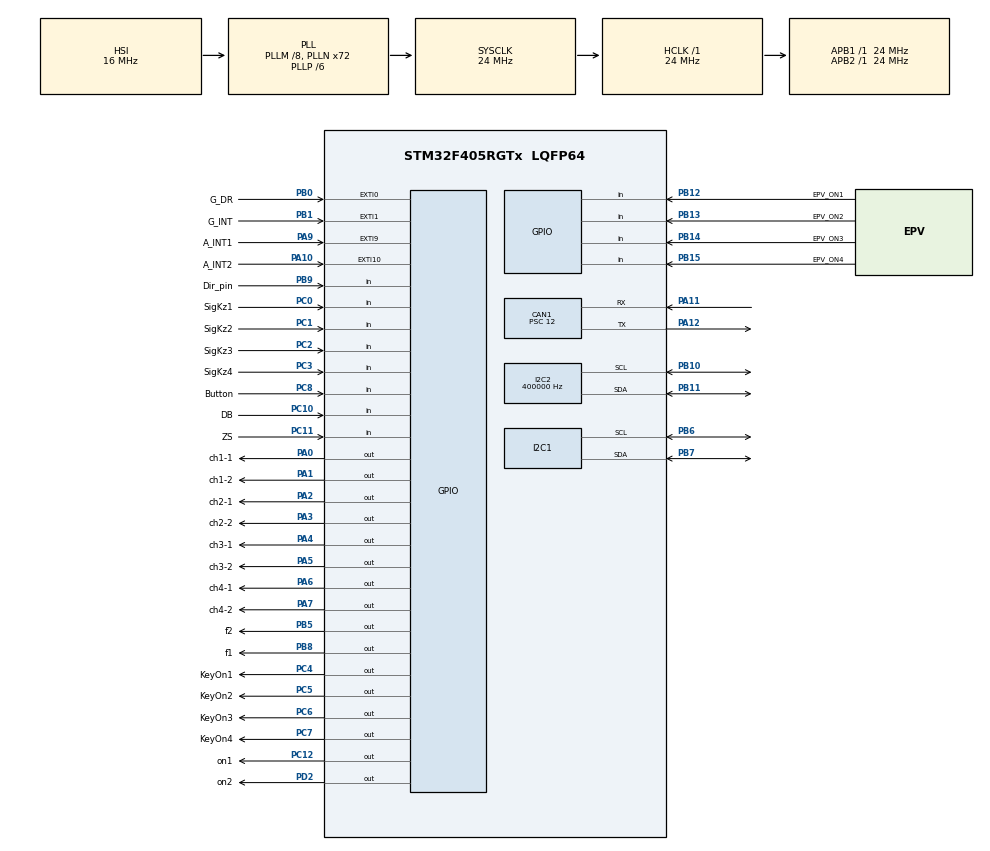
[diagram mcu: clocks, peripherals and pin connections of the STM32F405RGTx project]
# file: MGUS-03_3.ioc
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CAN1.ABOM=ENABLE
CAN1.BS1=CAN_BS1_13TQ
CAN1.BS2=CAN_BS2_2TQ
CAN1.CalculateBaudRate=125000
CAN1.CalculateTimeBit=8000
CAN1.CalculateTimeQuantum=500.0
CAN1.NART=ENABLE
CAN1.Prescaler=12
Dma.I2C2_RX.0.Direction=DMA_PERIPH_TO_MEMORY
Dma.I2C2_RX.0.FIFOMode=DMA_FIFOMODE_DISABLE
Dma.I2C2_RX.0.Instance=DMA1_Stream2
Dma.I2C2_RX.0.MemDataAlignment=DMA_MDATAALIGN_BYTE
Dma.I2C2_RX.0.MemInc=DMA_MINC_ENABLE
Dma.I2C2_RX.0.Mode=DMA_NORMAL
Dma.I2C2_RX.0.PeriphDataAlignment=DMA_PDATAALIGN_BYTE
Dma.I2C2_RX.0.PeriphInc=DMA_PINC_DISABLE
Dma.I2C2_RX.0.Priority=DMA_PRIORITY_LOW
Dma.I2C2_TX.1.Direction=DMA_MEMORY_TO_PERIPH
Dma.I2C2_TX.1.FIFOMode=DMA_FIFOMODE_DISABLE
Dma.I2C2_TX.1.Instance=DMA1_Stream7
Dma.I2C2_TX.1.MemDataAlignment=DMA_MDATAALIGN_BYTE
Dma.I2C2_TX.1.MemInc=DMA_MINC_ENABLE
Dma.I2C2_TX.1.Mode=DMA_NORMAL
Dma.I2C2_TX.1.PeriphDataAlignment=DMA_PDATAALIGN_BYTE
Dma.I2C2_TX.1.PeriphInc=DMA_PINC_DISABLE
Dma.I2C2_TX.1.Priority=DMA_PRIORITY_LOW
Dma.MEMTOMEM.2.Direction=DMA_MEMORY_TO_MEMORY
Dma.MEMTOMEM.2.FIFOMode=DMA_FIFOMODE_ENABLE
Dma.MEMTOMEM.2.FIFOThreshold=DMA_FIFO_THRESHOLD_FULL
Dma.MEMTOMEM.2.Instance=DMA2_Stream0
Dma.MEMTOMEM.2.MemBurst=DMA_MBURST_SINGLE
Dma.MEMTOMEM.2.MemDataAlignment=DMA_MDATAALIGN_BYTE
Dma.MEMTOMEM.2.MemInc=DMA_MINC_ENABLE
Dma.MEMTOMEM.2.Mode=DMA_NORMAL
Dma.MEMTOMEM.2.PeriphBurst=DMA_PBURST_SINGLE
Dma.MEMTOMEM.2.PeriphDataAlignment=DMA_PDATAALIGN_BYTE
Dma.MEMTOMEM.2.PeriphInc=DMA_PINC_ENABLE
Dma.MEMTOMEM.2.Priority=DMA_PRIORITY_LOW
Dma.Request0=I2C2_RX
Dma.Request1=I2C2_TX
Dma.Request2=MEMTOMEM
FREERTOS.BinarySemaphores01=myBinarySem01,Static,myBinarySem01ControlBlock;myBinarySem02,Dynamic,NULL;GyroBinSem,Dynamic,NULL
FREERTOS.CountingSemaphores01=myCountingSem01,10,Static,myCountingSem01ControlBlock;GyroCountingSem,2,Dynamic,NULL
FREERTOS.Queues01=GyroQueue,30,uint16_t,0,Dynamic,NULL,NULL
FREERTOS.Tasks01=defaultTask,32,128,StartDefaultTask,Default,NULL,Static,defaultTaskBuffer,defaultTaskControlBlock;I2CScan,16,128,I2CScanTask,Default,NULL,Dynamic,NULL,NULL;ChannelControlT,32,128,ChannelControl,Default,NULL,Dynamic,NULL,NULL;IndicationTask,8,128,Indication,Default,NULL,Dynamic,NULL,NULL;ButtonControlTa,8,128,ButtonControl,Default,NULL,Dynamic,NULL,NULL;CanControlTask,8,128,CanControl,Default,NULL,Dynamic,NULL,NULL;ControlModeDevT,8,128,ControlModeDev,Default,NULL,Dynamic,NULL,NULL;InclineControlT,8,128,InclineControl,Default,NULL,Dynamic,NULL,NULL;TimeTask,8,128,TimeControl,Default,NULL,Dynamic,NULL,NULL
I2C1.I2C_Mode=I2C_Fast
I2C2.ClockSpeed=400000
I2C2.I2C_Mode=I2C_Fast
Mcu.Family=STM32F4
Mcu.Name=STM32F405RGTx
Mcu.Package=LQFP64
NVIC.CAN1_RX0_IRQn=true\:5\:0\:false\:false\:true\:true\:true\:true
NVIC.CAN1_RX1_IRQn=true\:5\:0\:false\:false\:true\:true\:true\:true
NVIC.CAN1_SCE_IRQn=true\:5\:0\:false\:false\:true\:true\:true\:true
NVIC.CAN1_TX_IRQn=true\:5\:0\:false\:false\:true\:true\:true\:true
NVIC.DMA1_Stream2_IRQn=true\:5\:0\:false\:false\:true\:true\:false\:true
NVIC.DMA1_Stream7_IRQn=true\:5\:0\:false\:false\:true\:true\:false\:true
NVIC.DMA2_Stream0_IRQn=true\:5\:0\:false\:false\:true\:true\:true\:true
NVIC.EXTI0_IRQn=true\:5\:0\:false\:false\:true\:true\:true\:true
NVIC.EXTI15_10_IRQn=true\:5\:0\:false\:false\:true\:true\:true\:true
NVIC.EXTI1_IRQn=true\:5\:0\:false\:false\:true\:true\:true\:true
NVIC.EXTI9_5_IRQn=true\:5\:0\:false\:false\:true\:true\:true\:true
NVIC.I2C2_ER_IRQn=true\:5\:0\:false\:false\:true\:true\:true\:true
NVIC.I2C2_EV_IRQn=true\:5\:0\:false\:false\:true\:true\:true\:true
NVIC.PriorityGroup=NVIC_PRIORITYGROUP_4
NVIC.TIM1_UP_TIM10_IRQn=true\:15\:0\:false\:false\:true\:false\:false\:true
NVIC.TIM6_DAC_IRQn=true\:5\:0\:false\:false\:true\:true\:true\:true
NVIC.TimeBase=TIM1_UP_TIM10_IRQn
NVIC.TimeBaseIP=TIM1
PA0-WKUP.GPIO_Label=ch1-1
PA0-WKUP.Signal=GPIO_Output
PA1.GPIO_Label=ch1-2
PA1.Signal=GPIO_Output
PA10.GPIO_Label=A_INT2
PA10.Signal=GPXTI10
PA11.Mode=CAN_Activate
PA11.Signal=CAN1_RX
PA12.Mode=CAN_Activate
PA12.Signal=CAN1_TX
PA2.GPIO_Label=ch2-1
PA2.Signal=GPIO_Output
PA3.GPIO_Label=ch2-2
PA3.Signal=GPIO_Output
PA4.GPIO_Label=ch3-1
PA4.Signal=GPIO_Output
PA5.GPIO_Label=ch3-2
PA5.Signal=GPIO_Output
PA6.GPIO_Label=ch4-1
PA6.Signal=GPIO_Output
PA7.GPIO_Label=ch4-2
PA7.Signal=GPIO_Output
PA9.GPIO_Label=A_INT1
PA9.Signal=GPXTI9
PB0.GPIO_Label=G_DR
PB0.Signal=GPXTI0
PB1.GPIO_Label=G_INT
PB1.Signal=GPXTI1
PB10.Mode=I2C
PB10.Signal=I2C2_SCL
PB11.Mode=I2C
PB11.Signal=I2C2_SDA
PB12.GPIO_Label=EPV_ON1
PB12.GPIO_PuPd=GPIO_NOPULL
PB12.Signal=GPIO_Input
PB13.GPIO_Label=EPV_ON2
PB13.Signal=GPIO_Input
PB14.GPIO_Label=EPV_ON3
PB14.Signal=GPIO_Input
PB15.GPIO_Label=EPV_ON4
PB15.Signal=GPIO_Input
PB5.GPIO_Label=f2
PB5.Signal=GPIO_Output
PB6.Mode=I2C
PB6.Signal=I2C1_SCL
PB7.Mode=I2C
PB7.Signal=I2C1_SDA
PB8.GPIO_Label=f1
PB8.Signal=GPIO_Output
PB9.GPIO_Label=Dir_pin
PB9.GPIO_PuPd=GPIO_PULLUP
PB9.Signal=GPIO_Input
PC0.GPIO_Label=SigKz1
PC0.Signal=GPIO_Input
PC1.GPIO_Label=SigKz2
PC1.Signal=GPIO_Input
PC10.GPIO_Label=DB
PC10.Signal=GPIO_Input
PC11.GPIO_Label=ZS
PC11.Signal=GPIO_Input
PC12.GPIO_Label=on1
PC12.Signal=GPIO_Output
PC2.GPIO_Label=SigKz3
PC2.Signal=GPIO_Input
PC3.GPIO_Label=SigKz4
PC3.Signal=GPIO_Input
PC4.GPIO_Label=KeyOn1
PC4.Signal=GPIO_Output
PC5.GPIO_Label=KeyOn2
PC5.Signal=GPIO_Output
PC6.GPIO_Label=KeyOn3
PC6.Signal=GPIO_Output
PC7.GPIO_Label=KeyOn4
PC7.Signal=GPIO_Output
PC8.GPIO_Label=Button
PC8.Signal=GPIO_Input
PD2.GPIO_Label=on2
PD2.Signal=GPIO_Output
PH0-OSC_IN.Mode=HSE-External-Oscillator
PH0-OSC_IN.Signal=RCC_OSC_IN
PH1-OSC_OUT.Mode=HSE-External-Oscillator
PH1-OSC_OUT.Signal=RCC_OSC_OUT
ProjectManager.HeapSize=0x200
ProjectManager.StackSize=0x400
ProjectManager.TargetToolchain=MDK-ARM V5.32
RCC.48MHZClocksFreq_Value=36000000
RCC.AHBFreq_Value=24000000
RCC.APB1Freq_Value=24000000
RCC.APB1TimFreq_Value=24000000
RCC.APB2Freq_Value=24000000
RCC.APB2TimFreq_Value=24000000
RCC.CortexFreq_Value=24000000
RCC.HCLKFreq_Value=24000000
RCC.HSE_VALUE=4000000
RCC.HSI_VALUE=16000000
RCC.LSE_VALUE=32768
RCC.PLLM=8
RCC.PLLN=72
RCC.PLLP=RCC_PLLP_DIV6
RCC.SYSCLKFreq_VALUE=24000000
RCC.SYSCLKSource=RCC_SYSCLKSOURCE_PLLCLK
RCC.VCOOutputFreq_Value=144000000
TIM6.Prescaler=0
VP_FREERTOS_VS_CMSIS_V2.Mode=CMSIS_V2
VP_SYS_VS_tim1.Mode=TIM1
VP_TIM6_VS_ClockSourceINT.Mode=Enable_Timer
board=custom

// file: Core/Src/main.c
/* USER CODE BEGIN Header */
/**
  ******************************************************************************
  * @file           : main.c
  * @brief          : Main program body
  ******************************************************************************
  * @attention
  *
  * Copyright (c) 2022 STMicroelectronics.
  * All rights reserved.
  *
  * This software is licensed under terms that can be found in the LICENSE file
  * in the root directory of this software component.
  * If no LICENSE file comes with this software, it is provided AS-IS.
  *
  ******************************************************************************
  */
/* USER CODE END Header */
#include "main.h"
#include "cmsis_os.h"

/* USER CODE BEGIN Includes */

//#include "I2C_Dev.c"
/* USER CODE END Includes */

typedef StaticTask_t osStaticThreadDef_t;
typedef StaticSemaphore_t osStaticSemaphoreDef_t;
/* USER CODE BEGIN PTD */
CAN_FilterTypeDef sFilterConfig;
CAN_RxHeaderTypeDef RxHeader;
CAN_TxHeaderTypeDef TxHeader;

/* USER CODE END PTD */

/* USER CODE BEGIN PD */
#define CHANNEL_1_LED_OK HAL_GPIO_WritePin(ch1_1_GPIO_Port, ch1_1_Pin, GPIO_PIN_SET);HAL_GPIO_WritePin(ch1_2_GPIO_Port, ch1_2_Pin, GPIO_PIN_SET);
#define CHANNEL_1_LED_OFF HAL_GPIO_WritePin(ch1_1_GPIO_Port, ch1_1_Pin, GPIO_PIN_RESET);HAL_GPIO_WritePin(ch1_2_GPIO_Port, ch1_2_Pin, GPIO_PIN_RESET);
#define CHANNEL_2_LED_OK HAL_GPIO_WritePin(ch2_1_GPIO_Port, ch2_1_Pin, GPIO_PIN_SET);HAL_GPIO_WritePin(ch2_2_GPIO_Port, ch2_2_Pin, GPIO_PIN_SET);
#define CHANNEL_2_LED_OFF HAL_GPIO_WritePin(ch2_1_GPIO_Port, ch2_1_Pin, GPIO_PIN_RESET);HAL_GPIO_WritePin(ch2_2_GPIO_Port, ch2_2_Pin, GPIO_PIN_RESET);
#define CHANNEL_3_LED_OK HAL_GPIO_WritePin(ch3_1_GPIO_Port, ch3_1_Pin, GPIO_PIN_SET);HAL_GPIO_WritePin(ch3_2_GPIO_Port, ch3_2_Pin, GPIO_PIN_SET);
#define CHANNEL_3_LED_OFF HAL_GPIO_WritePin(ch3_1_GPIO_Port, ch3_1_Pin, GPIO_PIN_RESET);HAL_GPIO_WritePin(ch3_2_GPIO_Port, ch3_2_Pin, GPIO_PIN_RESET);
#define CHANNEL_4_LED_OK HAL_GPIO_WritePin(ch4_1_GPIO_Port, ch4_1_Pin, GPIO_PIN_SET);HAL_GPIO_WritePin(ch4_2_GPIO_Port, ch4_2_Pin, GPIO_PIN_SET);
#define CHANNEL_4_LED_OFF HAL_GPIO_WritePin(ch4_1_GPIO_Port, ch4_1_Pin, GPIO_PIN_RESET);HAL_GPIO_WritePin(ch4_2_GPIO_Port, ch4_2_Pin, GPIO_PIN_RESET);
#define STATUS_LED_GREEN HAL_GPIO_WritePin(on1_GPIO_Port, on1_Pin, GPIO_PIN_SET);HAL_GPIO_WritePin(on2_GPIO_Port, on2_Pin,GPIO_PIN_SET);HAL_GPIO_WritePin(f1_GPIO_Port, f1_Pin, GPIO_PIN_RESET);HAL_GPIO_WritePin(f2_GPIO_Port, f2_Pin,GPIO_PIN_RESET);
#define STATUS_LED_OFF HAL_GPIO_WritePin(on1_GPIO_Port, on1_Pin, GPIO_PIN_RESET);HAL_GPIO_WritePin(on2_GPIO_Port, on2_Pin,GPIO_PIN_RESET);HAL_GPIO_WritePin(f1_GPIO_Port, f1_Pin, GPIO_PIN_RESET);HAL_GPIO_WritePin(f2_GPIO_Port, f2_Pin,GPIO_PIN_RESET);
#define STATUS_LED_RED HAL_GPIO_WritePin(on1_GPIO_Port, on1_Pin, GPIO_PIN_RESET);HAL_GPIO_WritePin(on2_GPIO_Port, on2_Pin,GPIO_PIN_RESET);HAL_GPIO_WritePin(f1_GPIO_Port, f1_Pin, GPIO_PIN_SET);HAL_GPIO_WritePin(f2_GPIO_Port, f2_Pin,GPIO_PIN_SET);
#define STATUS_LED_YELLOW HAL_GPIO_WritePin(on1_GPIO_Port, on1_Pin, GPIO_PIN_SET);HAL_GPIO_WritePin(on2_GPIO_Port, on2_Pin,GPIO_PIN_SET);HAL_GPIO_WritePin(f1_GPIO_Port, f1_Pin, GPIO_PIN_SET);HAL_GPIO_WritePin(f2_GPIO_Port, f2_Pin,GPIO_PIN_SET);

#define CHANNEL_1_POWER_ON HAL_GPIO_WritePin(KeyOn1_GPIO_Port,KeyOn1_Pin,GPIO_PIN_SET);
#define CHANNEL_1_POWER_OFF HAL_GPIO_WritePin(KeyOn1_GPIO_Port,KeyOn1_Pin,GPIO_PIN_RESET);
#define CHANNEL_2_POWER_ON HAL_GPIO_WritePin(KeyOn2_GPIO_Port,KeyOn2_Pin,GPIO_PIN_SET);
#define CHANNEL_2_POWER_OFF HAL_GPIO_WritePin(KeyOn2_GPIO_Port,KeyOn2_Pin,GPIO_PIN_RESET);
#define CHANNEL_3_POWER_ON HAL_GPIO_WritePin(KeyOn3_GPIO_Port,KeyOn3_Pin,GPIO_PIN_SET);
#define CHANNEL_3_POWER_OFF HAL_GPIO_WritePin(KeyOn3_GPIO_Port,KeyOn3_Pin,GPIO_PIN_RESET);
#define CHANNEL_4_POWER_ON HAL_GPIO_WritePin(KeyOn4_GPIO_Port,KeyOn4_Pin,GPIO_PIN_SET);
#define CHANNEL_4_POWER_OFF HAL_GPIO_WritePin(KeyOn4_GPIO_Port,KeyOn4_Pin,GPIO_PIN_RESET);

#define TEST_ZapretSmazki HAL_GPIO_ReadPin(ZS_GPIO_Port,ZS_Pin)
#define TEST_BAK HAL_GPIO_ReadPin(DB_GPIO_Port,DB_Pin)
#define ZapretSmazki_ON GPIO_PIN_SET
#define ZapretSmazki_OFF GPIO_PIN_RESET
#define BAK_ON GPIO_PIN_SET
#define BAK_OFF GPIO_PIN_RESET

#define SENSOR_BUS hi2c2

#define I2C_TIMEOUT 10
#define GYRO_I2C_ADRESS 0xD0
#define GYRO_I2C_ID_Who_Am_I 0x0F
#define GYRO_I2C_ID_OUT_TEMP 0x26
#define GYRO_I2C_ID_OUT_X_L 0x28
#define GYRO_I2C_ID_OUT_Y_L 0x2A
#define GYRO_I2C_ID_OUT_Z_L 0x2C
#define GYRO_I2C_ID_CTRL_REG1 0x20
#define GYRO_I2C_ID_INT1_CFG 0x30
#define GYRO_I2C_ID_FIFO_CTRL_REG 0x2E
#define GYRO_I2C_ID_STATUS_REG 0x27
#define GYRO_I2C_ONALLAXIS 0xCF
#define GYRO_I2C_TIMEOUT 10
#define GYRO_I2C_STATUS_REG 0x27

#define ACSEL_I2C_ADRESS 0x32
#define ACSEL_I2C_ID_OUT_X_L 0x28
#define ACSEL_I2C_ID_Who_Am_I 0x0F
#define ACSEL_I2C_ID_CTRL_REG1 0x20
#define ACSEL_I2C_CTRL_REG1_SETTING 0x77
#define ACSEL_I2C_ID_CTRL_REG2 0x21
#define ACSEL_I2C_CTRL_REG2_SETTING 0xB0
#define ACSEL_I2C_ID_CTRL_REG3 0x22
#define ACSEL_I2C_CTRL_REG3_SETTING 0x00
#define ACSEL_I2C_ID_CTRL_REG4 0x23
#define ACSEL_I2C_CTRL_REG4_SETTING 0x28
#define ACSEL_I2C_ID_CTRL_REG5 0x24
#define ACSEL_I2C_CTRL_REG5_SETTING 0x00
#define ACSEL_I2C_ID_FIFO_CTRL_REG 0x2E
#define ACSEL_I2C_ONALLAXIS 0xFF
#define ACSEL_I2C_TIMEOUT 10

#define BOOT_TIME 10
/* USER CODE END PD */

/* USER CODE BEGIN PM */
xSemaphoreHandle ButtonSem;
/* USER CODE END PM */

CAN_HandleTypeDef hcan1;

I2C_HandleTypeDef hi2c1;
I2C_HandleTypeDef hi2c2;
DMA_HandleTypeDef hdma_i2c2_rx;
DMA_HandleTypeDef hdma_i2c2_tx;

TIM_HandleTypeDef htim6;

DMA_HandleTypeDef hdma_memtomem_dma2_stream0;
/* Definitions for defaultTask */
osThreadId_t defaultTaskHandle;
uint32_t defaultTaskBuffer[ 128 ];
osStaticThreadDef_t defaultTaskControlBlock;
const osThreadAttr_t defaultTask_attributes = {
  .name = "defaultTask",
  .cb_mem = &defaultTaskControlBlock,
  .cb_size = sizeof(defaultTaskControlBlock),
  .stack_mem = &defaultTaskBuffer[0],
  .stack_size = sizeof(defaultTaskBuffer),
  .priority = (osPriority_t) osPriorityAboveNormal,
};
/* Definitions for I2CScan */
osThreadId_t I2CScanHandle;
const osThreadAttr_t I2CScan_attributes = {
  .name = "I2CScan",
  .stack_size = 128 * 4,
  .priority = (osPriority_t) osPriorityBelowNormal,
};
/* Definitions for ChannelControlT */
osThreadId_t ChannelControlTHandle;
const osThreadAttr_t ChannelControlT_attributes = {
  .name = "ChannelControlT",
  .stack_size = 128 * 4,
  .priority = (osPriority_t) osPriorityAboveNormal,
};
/* Definitions for IndicationTask */
osThreadId_t IndicationTaskHandle;
const osThreadAttr_t IndicationTask_attributes = {
  .name = "IndicationTask",
  .stack_size = 128 * 4,
  .priority = (osPriority_t) osPriorityLow,
};
/* Definitions for ButtonControlTa */
osThreadId_t ButtonControlTaHandle;
const osThreadAttr_t ButtonControlTa_attributes = {
  .name = "ButtonControlTa",
  .stack_size = 128 * 4,
  .priority = (osPriority_t) osPriorityLow,
};
/* Definitions for CanControlTask */
osThreadId_t CanControlTaskHandle;
const osThreadAttr_t CanControlTask_attributes = {
  .name = "CanControlTask",
  .stack_size = 128 * 4,
  .priority = (osPriority_t) osPriorityLow,
};
/* Definitions for ControlModeDevT */
osThreadId_t ControlModeDevTHandle;
const osThreadAttr_t ControlModeDevT_attributes = {
  .name = "ControlModeDevT",
  .stack_size = 128 * 4,
  .priority = (osPriority_t) osPriorityLow,
};
/* Definitions for InclineControlT */
osThreadId_t InclineControlTHandle;
const osThreadAttr_t InclineControlT_attributes = {
  .name = "InclineControlT",
  .stack_size = 128 * 4,
  .priority = (osPriority_t) osPriorityLow,
};
/* Definitions for TimeTask */
osThreadId_t TimeTaskHandle;
const osThreadAttr_t TimeTask_attributes = {
  .name = "TimeTask",
  .stack_size = 128 * 4,
  .priority = (osPriority_t) osPriorityLow,
};
/* Definitions for GyroQueue */
osMessageQueueId_t GyroQueueHandle;
const osMessageQueueAttr_t GyroQueue_attributes = {
  .name = "GyroQueue"
};
/* Definitions for myBinarySem01 */
osSemaphoreId_t myBinarySem01Handle;
osStaticSemaphoreDef_t myBinarySem01ControlBlock;
const osSemaphoreAttr_t myBinarySem01_attributes = {
  .name = "myBinarySem01",
  .cb_mem = &myBinarySem01ControlBlock,
  .cb_size = sizeof(myBinarySem01ControlBlock),
};
/* Definitions for myBinarySem02 */
osSemaphoreId_t myBinarySem02Handle;
const osSemaphoreAttr_t myBinarySem02_attributes = {
  .name = "myBinarySem02"
};
/* Definitions for GyroBinSem */
osSemaphoreId_t GyroBinSemHandle;
const osSemaphoreAttr_t GyroBinSem_attributes = {
  .name = "GyroBinSem"
};
/* Definitions for myCountingSem01 */
osSemaphoreId_t myCountingSem01Handle;
osStaticSemaphoreDef_t myCountingSem01ControlBlock;
const osSemaphoreAttr_t myCountingSem01_attributes = {
  .name = "myCountingSem01",
  .cb_mem = &myCountingSem01ControlBlock,
  .cb_size = sizeof(myCountingSem01ControlBlock),
};
/* Definitions for GyroCountingSem */
osSemaphoreId_t GyroCountingSemHandle;
const osSemaphoreAttr_t GyroCountingSem_attributes = {
  .name = "GyroCountingSem"
};

void SystemClock_Config(void);
static void MX_GPIO_Init(void);
static void MX_I2C2_Init(void);
static void MX_CAN1_Init(void);
static void MX_DMA_Init(void);
static void MX_I2C1_Init(void);
static void MX_TIM6_Init(void);
void StartDefaultTask(void *argument);
void I2CScanTask(void *argument);
void ChannelControl(void *argument);
void Indication(void *argument);
void ButtonControl(void *argument);
void CanControl(void *argument);
void ControlModeDev(void *argument);
void InclineControl(void *argument);
void TimeControl(void *argument);

/* USER CODE BEGIN PFP */
Kalman_t KalmanX = {
    .Q_angle = 0.001f,
    .Q_bias = 0.003f,
    .R_measure = 0.03f};

Kalman_t KalmanY = {
    .Q_angle = 0.001f,
    .Q_bias = 0.003f,
    .R_measure = 0.03f,
};
static int32_t i3g4250dtr_platform_write(void *handle, uint8_t Reg, const uint8_t *Bufp, uint16_t len);
static int32_t i3g4250dtr_platform_read(void *handle, uint8_t Reg, uint8_t *Bufp, uint16_t len);

static int32_t ii2s_dh_platform_write(void *handle, uint8_t Reg, const uint8_t *Bufp, uint16_t len);
//static int32_t ii2s_dh_platform_read(void *handle, uint8_t Reg, const uint8_t *Bufp, uint16_t len);

void AllMemEraze(void);

uint8_t tx_buffer[1000];

uint8_t regAddress = GYRO_I2C_ID_OUT_X_L;
uint8_t regData = 0;
uint8_t TxData;
uint8_t RxData;

uint8_t BuffFRAM[9];

uint8_t CanDataTxBuff[8];
uint8_t RxDataBuffer [10];
uint8_t TxDataBuffer [10];
uint8_t AcselRxDataBuffer [10];
uint8_t GyroRxDataBuffer [10];
GPIO_PinState EPV1,EPV2,EPV3,EPV4;

uint16_t GyroOutX, GyroOutY, GyroOutZ, GyroStatusReg,GyroOutTemp;
float fGyroOutX,fGyroOutY,fGyroOutZ;
uint16_t AcselOutX, AcselOutY, AcselOutZ,AcselStatusReg,AcselOutTemp;

static int16_t i3g4250Buff[3];
static int16_t iis2dsBuff[3];

uint16_t data_raw_angular_rate[3];

/*
static int8_t i3g4250Buff[6];
static int8_t iis2dsBuff[6];
*/
uint32_t TimerKalman;
uint8_t WhoAmI;
/*CAN Global frame data*/
uint32_t RxIDCurrentFrame;
uint16_t RxIDShort;
uint8_t RxDataCurrentFrameBuff [8];

struct ExtData RxDataFromBis;
struct ExtData EmptyStr;
//struct ExtData InsideData;
struct DevCondition DeviceData;
struct DataI2CPer Gyro;

	struct DataI2CPer Acsel;
/* USER CODE END PFP */

int main(void)
{
  /* USER CODE BEGIN 1 */
	__HAL_RCC_I2C3_CLK_ENABLE();

	__HAL_RCC_I2C3_FORCE_RESET();

	__HAL_RCC_I2C3_RELEASE_RESET();

  /* USER CODE END 1 */

  /* MCU Configuration--------------------------------------------------------*/

  /* Reset of all peripherals, Initializes the Flash interface and the Systick. */
  HAL_Init();

  /* USER CODE BEGIN Init */
	RxDataFromBis = EmptyStr;

  /* USER CODE END Init */

  /* Configure the system clock */
  SystemClock_Config();

  /* Initialize all configured peripherals */
  MX_GPIO_Init();
  MX_I2C2_Init();
  MX_CAN1_Init();
  MX_DMA_Init();
  MX_I2C1_Init();
  MX_TIM6_Init();
  /* USER CODE BEGIN 2 */

	//AllMemEraze();

	DownloadDataFromMem(&DeviceData);//подгружаем значения из памятиж

	ButtonSem = xSemaphoreCreateCounting(10,0);

	Gyro.Adress = GYRO_I2C_ADRESS;
	//Gyro.SETUP_CNTRL_REG = GYRO_I2C_ONALLAXIS;

	Acsel.Adress = ACSEL_I2C_ADRESS;
	//Acsel.SETUP_CNTRL_REG = ACSEL_I2C_ONALLAXIS;
	//memset(*RxDataFromBis,)

	HAL_CAN_Start(&hcan1);
	HAL_CAN_ActivateNotification(&hcan1, CAN_IT_RX_FIFO0_MSG_PENDING|CAN_IT_ERROR|CAN_IT_BUSOFF|CAN_IT_LAST_ERROR_CODE);

	HAL_NVIC_SetPriority(I2C2_EV_IRQn, 0, 0);
    HAL_NVIC_EnableIRQ(I2C2_EV_IRQn);

	if(HAL_GPIO_ReadPin(Dir_pin_GPIO_Port,Dir_pin_Pin)==GPIO_PIN_SET)
	{
		/*если сторона установки левый борт*/
		DeviceData.Bort = Left;//левый борт
	}
	else
		DeviceData.Bort = Right; //правй борт
		//HAL_DMA_Start_IT();

		//HAL_DMA_Start();

  /* USER CODE END 2 */

  /* Init scheduler */
  osKernelInitialize();

  /* Create the semaphores(s) */
  /* creation of myBinarySem01 */
  myBinarySem01Handle = osSemaphoreNew(1, 1, &myBinarySem01_attributes);

  /* creation of myBinarySem02 */
  myBinarySem02Handle = osSemaphoreNew(1, 1, &myBinarySem02_attributes);

  /* creation of GyroBinSem */
  GyroBinSemHandle = osSemaphoreNew(1, 1, &GyroBinSem_attributes);

  /* creation of myCountingSem01 */
  myCountingSem01Handle = osSemaphoreNew(10, 10, &myCountingSem01_attributes);

  /* creation of GyroCountingSem */
  GyroCountingSemHandle = osSemaphoreNew(2, 2, &GyroCountingSem_attributes);

  /* Create the queue(s) */
  /* creation of GyroQueue */
  GyroQueueHandle = osMessageQueueNew (30, sizeof(uint16_t), &GyroQueue_attributes);

  /* Create the thread(s) */
  /* creation of defaultTask */
  defaultTaskHandle = osThreadNew(StartDefaultTask, NULL, &defaultTask_attributes);

  /* creation of I2CScan */
  I2CScanHandle = osThreadNew(I2CScanTask, NULL, &I2CScan_attributes);

  /* creation of ChannelControlT */
  ChannelControlTHandle = osThreadNew(ChannelControl, NULL, &ChannelControlT_attributes);

  /* creation of IndicationTask */
  IndicationTaskHandle = osThreadNew(Indication, NULL, &IndicationTask_attributes);

  /* creation of ButtonControlTa */
  ButtonControlTaHandle = osThreadNew(ButtonControl, NULL, &ButtonControlTa_attributes);

  /* creation of CanControlTask */
  CanControlTaskHandle = osThreadNew(CanControl, NULL, &CanControlTask_attributes);

  /* creation of ControlModeDevT */
  ControlModeDevTHandle = osThreadNew(ControlModeDev, NULL, &ControlModeDevT_attributes);

  /* creation of InclineControlT */
  InclineControlTHandle = osThreadNew(InclineControl, NULL, &InclineControlT_attributes);

  /* creation of TimeTask */
  TimeTaskHandle = osThreadNew(TimeControl, NULL, &TimeTask_attributes);

  /* Start scheduler */
  osKernelStart();

  /* We should never get here as control is now taken by the scheduler */
  /* Infinite loop */
  while (1)
  {

  }
}

void SystemClock_Config(void)
{
  RCC_OscInitTypeDef RCC_OscInitStruct = {0};
  RCC_ClkInitTypeDef RCC_ClkInitStruct = {0};

  /** Configure the main internal regulator output voltage
  */
  __HAL_RCC_PWR_CLK_ENABLE();
  __HAL_PWR_VOLTAGESCALING_CONFIG(PWR_REGULATOR_VOLTAGE_SCALE1);
  /** Initializes the RCC Oscillators according to the specified parameters
  * in the RCC_OscInitTypeDef structure.
  */
  RCC_OscInitStruct.OscillatorType = RCC_OSCILLATORTYPE_HSI;
  RCC_OscInitStruct.HSIState = RCC_HSI_ON;
  RCC_OscInitStruct.HSICalibrationValue = RCC_HSICALIBRATION_DEFAULT;
  RCC_OscInitStruct.PLL.PLLState = RCC_PLL_ON;
  RCC_OscInitStruct.PLL.PLLSource = RCC_PLLSOURCE_HSI;
  RCC_OscInitStruct.PLL.PLLM = 8;
  RCC_OscInitStruct.PLL.PLLN = 72;
  RCC_OscInitStruct.PLL.PLLP = RCC_PLLP_DIV6;
  RCC_OscInitStruct.PLL.PLLQ = 4;
  if (HAL_RCC_OscConfig(&RCC_OscInitStruct) != HAL_OK)
  {
    Error_Handler();
  }
  /** Initializes the CPU, AHB and APB buses clocks
  */
  RCC_ClkInitStruct.ClockType = RCC_CLOCKTYPE_HCLK|RCC_CLOCKTYPE_SYSCLK
                              |RCC_CLOCKTYPE_PCLK1|RCC_CLOCKTYPE_PCLK2;
  RCC_ClkInitStruct.SYSCLKSource = RCC_SYSCLKSOURCE_PLLCLK;
  RCC_ClkInitStruct.AHBCLKDivider = RCC_SYSCLK_DIV1;
  RCC_ClkInitStruct.APB1CLKDivider = RCC_HCLK_DIV1;
  RCC_ClkInitStruct.APB2CLKDivider = RCC_HCLK_DIV1;

  if (HAL_RCC_ClockConfig(&RCC_ClkInitStruct, FLASH_LATENCY_0) != HAL_OK)
  {
    Error_Handler();
  }
}

static void MX_CAN1_Init(void)
{

  hcan1.Instance = CAN1;
  hcan1.Init.Prescaler = 12;
  hcan1.Init.Mode = CAN_MODE_NORMAL;
  hcan1.Init.SyncJumpWidth = CAN_SJW_1TQ;
  hcan1.Init.TimeSeg1 = CAN_BS1_13TQ;
  hcan1.Init.TimeSeg2 = CAN_BS2_2TQ;
  hcan1.Init.TimeTriggeredMode = DISABLE;
  hcan1.Init.AutoBusOff = ENABLE;
  hcan1.Init.AutoWakeUp = DISABLE;
  hcan1.Init.AutoRetransmission = ENABLE;
  hcan1.Init.ReceiveFifoLocked = DISABLE;
  hcan1.Init.TransmitFifoPriority = DISABLE;
  if (HAL_CAN_Init(&hcan1) != HAL_OK)
  {
    Error_Handler();
  }
  /* USER CODE BEGIN CAN1_Init 2 */

	sFilterConfig.FilterBank=0;
	sFilterConfig.FilterMode=CAN_FILTERMODE_IDMASK;
	sFilterConfig.FilterScale=CAN_FILTERSCALE_32BIT;
	sFilterConfig.FilterIdHigh=(uint16_t)(CAN_FILTER_ID_0>>13);
	sFilterConfig.FilterIdLow=(uint16_t)(CAN_FILTER_ID_0<<3)|0x04;
	sFilterConfig.FilterMaskIdHigh=(uint16_t)(CAN_FILTER_MASK_0>>13);
	sFilterConfig.FilterMaskIdLow=(uint16_t)(CAN_FILTER_MASK_0<<3)|0x04;
	sFilterConfig.FilterFIFOAssignment=CAN_RX_FIFO0;
	sFilterConfig.FilterActivation=ENABLE;
	sFilterConfig.SlaveStartFilterBank=15;
	if(HAL_CAN_ConfigFilter(&hcan1,&sFilterConfig)!=HAL_OK)
	{
		Error_Handler();
	}

	sFilterConfig.FilterBank=1;
	sFilterConfig.FilterIdHigh=(uint16_t)(CAN_FILTER_ID_1>>13);
	sFilterConfig.FilterIdLow=(uint16_t)(CAN_FILTER_ID_1<<3)|0x04;
	sFilterConfig.FilterMaskIdHigh=(uint16_t)(CAN_FILTER_MASK_1>>13);
	sFilterConfig.FilterMaskIdLow=(uint16_t)(CAN_FILTER_MASK_1<<3)|0x04;

	if(HAL_CAN_ConfigFilter(&hcan1,&sFilterConfig)!=HAL_OK)
	{
		Error_Handler();
	}
		sFilterConfig.FilterBank=2;
	sFilterConfig.FilterIdHigh=(uint16_t)(CAN_FILTER_ID_2<<5);
	sFilterConfig.FilterIdLow=0x0000;
	sFilterConfig.FilterMaskIdHigh=(uint16_t)(CAN_FILTER_MASK_2<<5);
	sFilterConfig.FilterMaskIdLow=0x0000;

	if(HAL_CAN_ConfigFilter(&hcan1,&sFilterConfig)!=HAL_OK)
	{
		Error_Handler();
	}

  /* USER CODE END CAN1_Init 2 */

}

static void MX_I2C1_Init(void)
{

  hi2c1.Instance = I2C1;
  hi2c1.Init.ClockSpeed = 400000;
  hi2c1.Init.DutyCycle = I2C_DUTYCYCLE_2;
  hi2c1.Init.OwnAddress1 = 0;
  hi2c1.Init.AddressingMode = I2C_ADDRESSINGMODE_7BIT;
  hi2c1.Init.DualAddressMode = I2C_DUALADDRESS_DISABLE;
  hi2c1.Init.OwnAddress2 = 0;
  hi2c1.Init.GeneralCallMode = I2C_GENERALCALL_DISABLE;
  hi2c1.Init.NoStretchMode = I2C_NOSTRETCH_DISABLE;
  if (HAL_I2C_Init(&hi2c1) != HAL_OK)
  {
    Error_Handler();
  }

}

static void MX_I2C2_Init(void)
{

  hi2c2.Instance = I2C2;
  hi2c2.Init.ClockSpeed = 400000;
  hi2c2.Init.DutyCycle = I2C_DUTYCYCLE_2;
  hi2c2.Init.OwnAddress1 = 0;
  hi2c2.Init.AddressingMode = I2C_ADDRESSINGMODE_7BIT;
  hi2c2.Init.DualAddressMode = I2C_DUALADDRESS_DISABLE;
  hi2c2.Init.OwnAddress2 = 0;
  hi2c2.Init.GeneralCallMode = I2C_GENERALCALL_DISABLE;
  hi2c2.Init.NoStretchMode = I2C_NOSTRETCH_DISABLE;
  if (HAL_I2C_Init(&hi2c2) != HAL_OK)
  {
    Error_Handler();
  }
  /* USER CODE BEGIN I2C2_Init 2 */

		HAL_NVIC_DisableIRQ(I2C2_EV_IRQn);

	/* I2C2_TX Init */

  /* USER CODE END I2C2_Init 2 */

}

static void MX_TIM6_Init(void)
{

  TIM_MasterConfigTypeDef sMasterConfig = {0};

  htim6.Instance = TIM6;
  htim6.Init.Prescaler = 0;
  htim6.Init.CounterMode = TIM_COUNTERMODE_UP;
  htim6.Init.Period = 65535;
  htim6.Init.AutoReloadPreload = TIM_AUTORELOAD_PRELOAD_DISABLE;
  if (HAL_TIM_Base_Init(&htim6) != HAL_OK)
  {
    Error_Handler();
  }
  sMasterConfig.MasterOutputTrigger = TIM_TRGO_RESET;
  sMasterConfig.MasterSlaveMode = TIM_MASTERSLAVEMODE_DISABLE;
  if (HAL_TIMEx_MasterConfigSynchronization(&htim6, &sMasterConfig) != HAL_OK)
  {
    Error_Handler();
  }

}

static void MX_DMA_Init(void)
{

  /* DMA controller clock enable */
  __HAL_RCC_DMA1_CLK_ENABLE();
  __HAL_RCC_DMA2_CLK_ENABLE();

  /* Configure DMA request hdma_memtomem_dma2_stream0 on DMA2_Stream0 */
  hdma_memtomem_dma2_stream0.Instance = DMA2_Stream0;
  hdma_memtomem_dma2_stream0.Init.Channel = DMA_CHANNEL_0;
  hdma_memtomem_dma2_stream0.Init.Direction = DMA_MEMORY_TO_MEMORY;
  hdma_memtomem_dma2_stream0.Init.PeriphInc = DMA_PINC_ENABLE;
  hdma_memtomem_dma2_stream0.Init.MemInc = DMA_MINC_ENABLE;
  hdma_memtomem_dma2_stream0.Init.PeriphDataAlignment = DMA_PDATAALIGN_BYTE;
  hdma_memtomem_dma2_stream0.Init.MemDataAlignment = DMA_MDATAALIGN_BYTE;
  hdma_memtomem_dma2_stream0.Init.Mode = DMA_NORMAL;
  hdma_memtomem_dma2_stream0.Init.Priority = DMA_PRIORITY_LOW;
  hdma_memtomem_dma2_stream0.Init.FIFOMode = DMA_FIFOMODE_ENABLE;
  hdma_memtomem_dma2_stream0.Init.FIFOThreshold = DMA_FIFO_THRESHOLD_FULL;
  hdma_memtomem_dma2_stream0.Init.MemBurst = DMA_MBURST_SINGLE;
  hdma_memtomem_dma2_stream0.Init.PeriphBurst = DMA_PBURST_SINGLE;
  if (HAL_DMA_Init(&hdma_memtomem_dma2_stream0) != HAL_OK)
  {
    Error_Handler( );
  }

  /* DMA interrupt init */
  /* DMA1_Stream2_IRQn interrupt configuration */
  HAL_NVIC_SetPriority(DMA1_Stream2_IRQn, 5, 0);
  HAL_NVIC_EnableIRQ(DMA1_Stream2_IRQn);
  /* DMA1_Stream7_IRQn interrupt configuration */
  HAL_NVIC_SetPriority(DMA1_Stream7_IRQn, 5, 0);
  HAL_NVIC_EnableIRQ(DMA1_Stream7_IRQn);
  /* DMA2_Stream0_IRQn interrupt configuration */
  HAL_NVIC_SetPriority(DMA2_Stream0_IRQn, 5, 0);
  HAL_NVIC_EnableIRQ(DMA2_Stream0_IRQn);

}

static void MX_GPIO_Init(void)
{
  GPIO_InitTypeDef GPIO_InitStruct = {0};

  /* GPIO Ports Clock Enable */
  __HAL_RCC_GPIOH_CLK_ENABLE();
  __HAL_RCC_GPIOC_CLK_ENABLE();
  __HAL_RCC_GPIOA_CLK_ENABLE();
  __HAL_RCC_GPIOB_CLK_ENABLE();
  __HAL_RCC_GPIOD_CLK_ENABLE();

  /*Configure GPIO pin Output Level */
  HAL_GPIO_WritePin(GPIOA, ch1_1_Pin|ch1_2_Pin|ch2_1_Pin|ch2_2_Pin
                          |ch3_1_Pin|ch3_2_Pin|ch4_1_Pin|ch4_2_Pin, GPIO_PIN_RESET);

  /*Configure GPIO pin Output Level */
  HAL_GPIO_WritePin(GPIOC, KeyOn1_Pin|KeyOn2_Pin|KeyOn3_Pin|KeyOn4_Pin
                          |on1_Pin, GPIO_PIN_RESET);

  /*Configure GPIO pin Output Level */
  HAL_GPIO_WritePin(on2_GPIO_Port, on2_Pin, GPIO_PIN_RESET);

  /*Configure GPIO pin Output Level */
  HAL_GPIO_WritePin(GPIOB, f2_Pin|f1_Pin, GPIO_PIN_RESET);

  /*Configure GPIO pins : SigKz1_Pin SigKz2_Pin SigKz3_Pin SigKz4_Pin
                           Button_Pin DB_Pin ZS_Pin */
  GPIO_InitStruct.Pin = SigKz1_Pin|SigKz2_Pin|SigKz3_Pin|SigKz4_Pin
                          |Button_Pin|DB_Pin|ZS_Pin;
  GPIO_InitStruct.Mode = GPIO_MODE_INPUT;
  GPIO_InitStruct.Pull = GPIO_NOPULL;
  HAL_GPIO_Init(GPIOC, &GPIO_InitStruct);

  /*Configure GPIO pins : ch1_1_Pin ch1_2_Pin ch2_1_Pin ch2_2_Pin
                           ch3_1_Pin ch3_2_Pin ch4_1_Pin ch4_2_Pin */
  GPIO_InitStruct.Pin = ch1_1_Pin|ch1_2_Pin|ch2_1_Pin|ch2_2_Pin
                          |ch3_1_Pin|ch3_2_Pin|ch4_1_Pin|ch4_2_Pin;
  GPIO_InitStruct.Mode = GPIO_MODE_OUTPUT_PP;
  GPIO_InitStruct.Pull = GPIO_NOPULL;
  GPIO_InitStruct.Speed = GPIO_SPEED_FREQ_LOW;
  HAL_GPIO_Init(GPIOA, &GPIO_InitStruct);

  /*Configure GPIO pins : KeyOn1_Pin KeyOn2_Pin KeyOn3_Pin KeyOn4_Pin
                           on1_Pin */
  GPIO_InitStruct.Pin = KeyOn1_Pin|KeyOn2_Pin|KeyOn3_Pin|KeyOn4_Pin
                          |on1_Pin;
  GPIO_InitStruct.Mode = GPIO_MODE_OUTPUT_PP;
  GPIO_InitStruct.Pull = GPIO_NOPULL;
  GPIO_InitStruct.Speed = GPIO_SPEED_FREQ_LOW;
  HAL_GPIO_Init(GPIOC, &GPIO_InitStruct);

  /*Configure GPIO pins : G_DR_Pin G_INT_Pin */
  GPIO_InitStruct.Pin = G_DR_Pin|G_INT_Pin;
  GPIO_InitStruct.Mode = GPIO_MODE_IT_RISING;
  GPIO_InitStruct.Pull = GPIO_NOPULL;
  HAL_GPIO_Init(GPIOB, &GPIO_InitStruct);

  /*Configure GPIO pins : EPV_ON1_Pin EPV_ON2_Pin EPV_ON3_Pin EPV_ON4_Pin */
  GPIO_InitStruct.Pin = EPV_ON1_Pin|EPV_ON2_Pin|EPV_ON3_Pin|EPV_ON4_Pin;
  GPIO_InitStruct.Mode = GPIO_MODE_INPUT;
  GPIO_InitStruct.Pull = GPIO_NOPULL;
  HAL_GPIO_Init(GPIOB, &GPIO_InitStruct);

  /*Configure GPIO pins : A_INT1_Pin A_INT2_Pin */
  GPIO_InitStruct.Pin = A_INT1_Pin|A_INT2_Pin;
  GPIO_InitStruct.Mode = GPIO_MODE_IT_RISING;
  GPIO_InitStruct.Pull = GPIO_NOPULL;
  HAL_GPIO_Init(GPIOA, &GPIO_InitStruct);

  /*Configure GPIO pin : on2_Pin */
  GPIO_InitStruct.Pin = on2_Pin;
  GPIO_InitStruct.Mode = GPIO_MODE_OUTPUT_PP;
  GPIO_InitStruct.Pull = GPIO_NOPULL;
  GPIO_InitStruct.Speed = GPIO_SPEED_FREQ_LOW;
  HAL_GPIO_Init(on2_GPIO_Port, &GPIO_InitStruct);

  /*Configure GPIO pins : f2_Pin f1_Pin */
  GPIO_InitStruct.Pin = f2_Pin|f1_Pin;
  GPIO_InitStruct.Mode = GPIO_MODE_OUTPUT_PP;
  GPIO_InitStruct.Pull = GPIO_NOPULL;
  GPIO_InitStruct.Speed = GPIO_SPEED_FREQ_LOW;
  HAL_GPIO_Init(GPIOB, &GPIO_InitStruct);

  /*Configure GPIO pin : Dir_pin_Pin */
  GPIO_InitStruct.Pin = Dir_pin_Pin;
  GPIO_InitStruct.Mode = GPIO_MODE_INPUT;
  GPIO_InitStruct.Pull = GPIO_PULLUP;
  HAL_GPIO_Init(Dir_pin_GPIO_Port, &GPIO_InitStruct);

  /* EXTI interrupt init*/
  HAL_NVIC_SetPriority(EXTI0_IRQn, 5, 0);
  HAL_NVIC_EnableIRQ(EXTI0_IRQn);

  HAL_NVIC_SetPriority(EXTI1_IRQn, 5, 0);
  HAL_NVIC_EnableIRQ(EXTI1_IRQn);

  HAL_NVIC_SetPriority(EXTI9_5_IRQn, 5, 0);
  HAL_NVIC_EnableIRQ(EXTI9_5_IRQn);

  HAL_NVIC_SetPriority(EXTI15_10_IRQn, 5, 0);
  HAL_NVIC_EnableIRQ(EXTI15_10_IRQn);

}

/* USER CODE BEGIN 4 */
void AllMemEraze(void)
{
		uint16_t NomerBloka;//Серийный номер блока
	uint16_t YearOfManfacture;//год выпуска
	uint8_t MounthOfManafacture;//месяц выпуска
	uint8_t DayOfManafacture;
	DeviceData.NomerBloka = 0x0C;
	DeviceData.MounthOfManafacture = 7;
	DeviceData.DayOfManafacture = 19;
	DeviceData.YearOfManafacture = 2022;
	DeviceData.EPV1Count = 0x01;
	DeviceData.EPV2Count = 0xFF;
	DeviceData.EPV3Count = 0xFFF;
	DeviceData.EPV4Count = 0xFFFFF;
	DeviceData.DistanceTraveled = 0;
	DeviceData.TimeMinuts = 0;
	DeviceData.TimeOfWork = 0;
	WrireToMemUint32(DeviceData.EPV1Count,FRAM_MEM_ID_EPV1);
	WrireToMemUint32(DeviceData.EPV2Count,FRAM_MEM_ID_EPV2);
	WrireToMemUint32(DeviceData.EPV3Count,FRAM_MEM_ID_EPV3);
	WrireToMemUint32(DeviceData.EPV4Count,FRAM_MEM_ID_EPV4);
	WrireToMemUint32(DeviceData.TimeMinuts,FRAM_MEM_ID_TIME_MIN);

	WrireToMemUint32(DeviceData.TimeOfWork,FRAM_MEM_ID_TIME);

		WrireToMemUint32(DeviceData.DistanceTraveled,FRAM_MEM_ID_DISTANCE);

		WrireToMemUint16(DeviceData.NomerBloka,FRAM_MEM_ID_SER_NUM);
		WrireToMemUint8(DeviceData.MounthOfManafacture,FRAM_MEM_ID_DATA_MOUNTH);
		WrireToMemUint8(DeviceData.DayOfManafacture,FRAM_MEM_ID_DATA_DAY);
		WrireToMemUint16(DeviceData.YearOfManafacture,FRAM_MEM_ID_DATA_YEAR);
}

void dma_m2m_callback(DMA_HandleTypeDef *hdma_memtomem_dma2_stream0)
{

}

void HAL_I2C_MasterRxCpltCallback (I2C_HandleTypeDef *hi2c)
{
	CHANNEL_1_LED_OK;
}

void HAL_GPIO_EXTI_Callback(uint16_t GPIO_Pin)
{

}

void HAL_CAN_RxFifo0MsgPendingCallback(CAN_HandleTypeDef *hcan)
{
	if(HAL_CAN_GetRxMessage(hcan,CAN_RX_FIFO0,&RxHeader,RxDataCurrentFrameBuff)==HAL_OK)
	{
		//HAL_GPIO_TogglePin(GPIOB,GPIO_PIN_8);
		//if(RxHeader.ExtId!=0)
		RxIDCurrentFrame = RxHeader.ExtId;
		RxHeader.ExtId = 0;
		//if(RxHeader.StdId!=0)
		RxIDShort = RxHeader.StdId;
		RxHeader.StdId = 0;
	}
}
/*---------------------------------------------------*/
//Завершена передача всех данных
void HAL_I2C_TxCpltCallback(I2C_HandleTypeDef *i2c)
{
	if(i2c == &hi2c2)
	{
		HAL_GPIO_TogglePin(ch1_1_GPIO_Port,ch1_1_Pin);
		HAL_GPIO_TogglePin(ch1_2_GPIO_Port,ch1_2_Pin);
	}
}
/*---------------------------------------------------*/
//Завершена передача половина данных
void HAL_I2C_TxHalfCallback(I2C_HandleTypeDef *i2c)
{
	if(i2c == &hi2c2)
	{
		HAL_GPIO_TogglePin(ch2_1_GPIO_Port,ch1_1_Pin);
		HAL_GPIO_TogglePin(ch2_2_GPIO_Port,ch1_2_Pin);
	}
}

static int32_t i3g4250dtr_platform_write(void *handle, uint8_t Reg, const uint8_t *Bufp, uint16_t len)
{
	Reg |= 0x80;
  //HAL_I2C_Mem_Write_DMA(handle, I3G4250D_I2C_ADD_L, Reg,I2C_MEMADD_SIZE_8BIT, (uint8_t*) Bufp, len);
	HAL_I2C_Mem_Write(handle, I3G4250D_I2C_ADD_L, Reg,I2C_MEMADD_SIZE_8BIT, (uint8_t*) Bufp, len,1);
}
static int32_t i3g4250dtr_platform_read(void *handle, uint8_t Reg, uint8_t *Bufp, uint16_t len)
{
	 Reg |= 0x80;
 // HAL_I2C_Mem_Read_DMA(handle, I3G4250D_I2C_ADD_L, Reg,I2C_MEMADD_SIZE_8BIT, Bufp, len);
	HAL_I2C_Mem_Read(handle, I3G4250D_I2C_ADD_L, Reg,I2C_MEMADD_SIZE_8BIT, Bufp, len,1);

}
static int32_t ii2s_dh_platform_write(void *handle, uint8_t Reg, const uint8_t *Bufp, uint16_t len)
{
	Reg |= 0x80;
  //HAL_I2C_Mem_Write_DMA(handle, IIS2DH_I2C_ADD_L, Reg,I2C_MEMADD_SIZE_8BIT, (uint8_t*) Bufp, len);
	HAL_I2C_Mem_Write(handle, IIS2DH_I2C_ADD_L, Reg,I2C_MEMADD_SIZE_8BIT, (uint8_t*) Bufp, len,1);
}
static int32_t ii2s_dh_platform_read(void *handle, uint8_t Reg, uint8_t *Bufp, uint16_t len)
{
  Reg |= 0x80;
  //HAL_I2C_Mem_Read_DMA(handle, IIS2DH_I2C_ADD_L, Reg,I2C_MEMADD_SIZE_8BIT, Bufp, len);
	HAL_I2C_Mem_Read(handle, IIS2DH_I2C_ADD_L, Reg,I2C_MEMADD_SIZE_8BIT, Bufp, len,1);
}

/* USER CODE END 4 */

void StartDefaultTask(void *argument)
{
  /* USER CODE BEGIN 5 */
	//DeviceData.DistanceTraveled = 0;
	//WrireToMemUint32(DeviceData.DistanceTraveled,FRAM_MEM_ID_DISTANCE);
	 DeviceData.DistanceTraveled = ReadFromMemUint32(FRAM_MEM_ID_DISTANCE);

  /* Infinite loop */
  for(;;)
  {
		if(DeviceData.Mode != ZapretSmazki)
			DeviceData.ActualDistance += DistanseCount(DeviceData.Speed,1);
		else
			DeviceData.ActualDistance = 0;
		/*-----------------------------------------------------------------*/
		DeviceData.FullDistace += DistanseCount(DeviceData.Speed,1);
			if(DeviceData.FullDistace >= 1000)
			{
				DeviceData.FullDistace = 0x00;
				DeviceData.DistanceTraveled ++;//приращиваем пройденный путь в км
				WrireToMemUint32(DeviceData.DistanceTraveled,FRAM_MEM_ID_DISTANCE);

			}
			osDelay(100);

  }
  /* USER CODE END 5 */
}

void I2CScanTask(void *argument)
{
  /* USER CODE BEGIN I2CScanTask */

	osDelay(10);
	for(;;)
	{

		osDelay(100);
	}
  /* USER CODE END I2CScanTask */
}

void ChannelControl(void *argument)
{
  /* USER CODE BEGIN ChannelControl */
	DeviceData.Mode = ZapretSmazki;
	DeviceData.EPV1Count = ReadFromMemUint32(FRAM_MEM_ID_EPV1);
	DeviceData.EPV2Count = ReadFromMemUint32(FRAM_MEM_ID_EPV2);
	DeviceData.EPV3Count = ReadFromMemUint32(FRAM_MEM_ID_EPV3);
	DeviceData.EPV4Count = ReadFromMemUint32(FRAM_MEM_ID_EPV4);
	DeviceData.TimeBetweenInjection = 1;

  /* Infinite loop */
  for(;;)
  {
		ChannelControlSwitch(&DeviceData);

		//osDelay(DeviceData.TimeBetweenInjection * 100);
		osDelay(1);
  }
  /* USER CODE END ChannelControl */
}

void Indication(void *argument)
{
  /* USER CODE BEGIN Indication */
	STATUS_LED_GREEN;
		//uint8_t Buff[9];
  /* Infinite loop */
  for(;;)
  {

		if(DeviceData.KZ_ERROR)
		{
				STATUS_LED_RED;
		}
		else
		{
				if(DeviceData.OBR_ERROR|DeviceData.CAN_ERROR == 2)
					STATUS_LED_YELLOW;
				if((!DeviceData.KZ_ERROR)&(!DeviceData.OBR_ERROR)&(DeviceData.CAN_ERROR != 2))
				{
					STATUS_LED_GREEN;
				}

		}

		osDelay(100);
  }
  /* USER CODE END Indication */
}

void ButtonControl(void *argument)
{
  /* USER CODE BEGIN ButtonControl */

	//uint8_t ButtonCondition = 0;
  /* Infinite loop */
  for(;;)
  {
		if(DeviceData.Mode != SelfTest)
		if(HAL_GPIO_ReadPin(Button_GPIO_Port,Button_Pin) == GPIO_PIN_RESET)
		{
			osDelay(100);
			if(HAL_GPIO_ReadPin(Button_GPIO_Port,Button_Pin) == GPIO_PIN_RESET)
			{
				DeviceData.Mode = SelfTest;
				osDelay(500);
			}
		}

		osDelay(10);
  }
  /* USER CODE END ButtonControl */
}

void CanControl(void *argument)
{
  /* USER CODE BEGIN CanControl */
	/*----предварительная настройка структуры, обнуляем результаты и подгружаем из памяти FRAM---------------*/
	RxDataFromBis = EmptyStr;
	RxIDCurrentFrame = 0;
	uint8_t OldError = 0;
	uint8_t oldValZs1 = RxDataFromBis.zs1;
	uint8_t oldValBd = RxDataFromBis.Bak;
	//DeviceData.KZ_ERROR = 0X04;
	//DeviceData.OBR_ERROR = 0x05;
	//RxDataFromBis = GetDataFromMem(RxDataFromBis);
  /* Infinite loop */
  for(;;)
  {
			if(RxIDShort)
			{
					if(RxDataCurrentFrameBuff[0]==0x01)
						DeviceData.ActivExt = EnableSw;
					else
						DeviceData.ActivExt = DisableSw;

					RxIDShort=0;
			}
		if(RxIDCurrentFrame)
		{
				IntreputDataFromBis(RxIDCurrentFrame,RxDataCurrentFrameBuff,&RxDataFromBis, &DeviceData);
				if(RxIDCurrentFrame!=0)
					DeviceData.CAN_ERROR = 0;
				RxIDCurrentFrame = 0;

				if(RxDataFromBis.T2)//Тормоз
				{
					//RxDataFromBis.T2 = 0;
					//DeviceData.Mode = ZapretSmazki;
				}
				if(RxDataFromBis.T3)//Песок
				{
					//RxDataFromBis.T3 = 0;
					//DeviceData.Mode = ZapretSmazki;
				}
				if(RxDataFromBis.geroinit == 1)//Провести инициализацию гироскопа
				{

				}
				if(RxDataFromBis.contr == 1)
				{
					DeviceData.Mode = SelfTest;
					RxDataFromBis.contr = 0;
				}
				if(RxDataFromBis.error_log == 1)//Передать лог ошибок модуля
				{
					CanSendExtMessage(CAN_PROT_IDExt_FORM_MUGS_03_ERRORS,CanDataTxBuff);
					RxDataFromBis.error_log = 0;
				}

			}
				if(RxDataFromBis.info == 1)//передать информацию о блоке
				{

					DeviceData.DayOfManafacture = ReadFromMemUint8(FRAM_MEM_ID_DATA_DAY);
					DeviceData.MounthOfManafacture = ReadFromMemUint8(FRAM_MEM_ID_DATA_MOUNTH);
					DeviceData.YearOfManafacture = ReadFromMemUint16(FRAM_MEM_ID_DATA_YEAR);
					DeviceData.NomerBloka = ReadFromMemUint16(FRAM_MEM_ID_SER_NUM);
					MessageFormateToBis(CAN_PROT_IDExt_FORM_MUGS_03_INFO,CanDataTxBuff,&RxDataFromBis,&DeviceData);
					CanSendExtMessage(CAN_PROT_IDExt_FORM_MUGS_03_INFO,CanDataTxBuff);
					MessageFormateToBis(CAN_PROT_IDExt_FORM_MUGS_03_ERRORS,CanDataTxBuff,&RxDataFromBis,&DeviceData);
					CanSendExtMessage(CAN_PROT_IDExt_FORM_MUGS_03_ERRORS,CanDataTxBuff);
					RxDataFromBis.info = 0;
					osDelay(10);
					//	MessageFormateToBis(CAN_PROT_IDExt_FORM_MUGS_03_INFO,CanDataTxBuff,RxDataFromBis);

				}

				if(RxDataFromBis.cnt == ReciveCommand)//передать состояние о счетчиках
				{

					MessageFormateToBis(CAN_PROT_IDExt_FORM_MUGS_03_INFO_EPV1_2,CanDataTxBuff,&RxDataFromBis ,&DeviceData);
					CanSendExtMessage(CAN_PROT_IDExt_FORM_MUGS_03_INFO_EPV1_2,CanDataTxBuff);
					MessageFormateToBis(CAN_PROT_IDExt_FORM_MUGS_03_INFO_EPV3_4,CanDataTxBuff,&RxDataFromBis ,&DeviceData);
					CanSendExtMessage(CAN_PROT_IDExt_FORM_MUGS_03_INFO_EPV3_4,CanDataTxBuff);
					MessageFormateToBis(CAN_PROT_IDExt_FORM_MUGS_03_INFO_TIME,CanDataTxBuff,&RxDataFromBis ,&DeviceData);
					CanSendExtMessage(CAN_PROT_IDExt_FORM_MUGS_03_INFO_TIME,CanDataTxBuff);
					RxDataFromBis.cnt = NoCommand;
				}
		//отправка сообщений сразу после короткого замыкания
		if(DeviceData.KZ_ERROR!= OldError)
		{
			MessageFormateToBis(CAN_PROT_IDExt_FORM_MUGS_03_ERRORS,CanDataTxBuff,&RxDataFromBis,&DeviceData);
			CanSendExtMessage(CAN_PROT_IDExt_FORM_MUGS_03_ERRORS,CanDataTxBuff);
			OldError = DeviceData.KZ_ERROR;
		}
		//отправка сообщений сразу по приходу внешнего сигнала - запрета смазки и бака
		if((RxDataFromBis.zs1 != oldValZs1)|(RxDataFromBis.Bak != oldValBd))
		{
			oldValZs1 = RxDataFromBis.zs1;
			oldValBd = RxDataFromBis.Bak;
			MessageFormateToBis(CAN_PROT_IDExt_FORM_MUGS_03_ERRORS,TxDataBuffer,&RxDataFromBis,&DeviceData);
			CanSendExtMessage(CAN_PROT_IDExt_FORM_MUGS_03_ERRORS,TxDataBuffer);
		}
		osDelay(1);
  }
  /* USER CODE END CanControl */
}

void ControlModeDev(void *argument)
{
  /* USER CODE BEGIN ControlModeDev */
	DeviceData.Mode = ZapretSmazki;
	DeviceData.Area = Linage;
	DeviceData.DistanceL1 = 100;
	DeviceData.DistanceL2 = 300;
	DeviceData.DistanceL3 = 200;
	DeviceData.Speed = 0;
	DeviceData.SpeedV1 = 5;
	DeviceData.SpeedV2 = 55;
	DeviceData.Time_Injection = 4;

  /* Infinite loop */
  for(;;)
  {
		if(DeviceData.Mode!=SelfTest)
		{
			if(HAL_GPIO_ReadPin(ZS_GPIO_Port,ZS_Pin)==GPIO_PIN_SET)
			{

				RxDataFromBis.zs1 = ReciveCommand;
				DeviceData.Mode = ZapretSmazki;
			}
			else
			{
				RxDataFromBis.zs1 = NoCommand;

				if(DeviceData.Direction && (DeviceData.Area == Linage) &&
				(DeviceData.Speed > DeviceData.SpeedV1)&&
				(DeviceData.Speed < DeviceData.SpeedV2) &&
				(DeviceData.ActivExt == EnableSw)&&
				(RxDataFromBis.T2 ==0)&&
				(RxDataFromBis.T3 ==0))
				{
					DeviceData.Mode = ActivSmazkaL1;
				}
				if(DeviceData.Direction && (DeviceData.Area == Linage) &&
					(DeviceData.Speed > DeviceData.SpeedV2) &&
				 (DeviceData.ActivExt == EnableSw)&&
					(RxDataFromBis.T2 ==0)&&
					(RxDataFromBis.T3 ==0))
				{
					DeviceData.Mode = ActivSmazkaL2;
				}
				if(DeviceData.Direction && (DeviceData.Area == NonLinage) &&
					(DeviceData.Speed > DeviceData.SpeedV1)&&
				(DeviceData.ActivExt == EnableSw) &&
				(RxDataFromBis.T2 ==0)&&
				(RxDataFromBis.T3 ==0))
				{
					DeviceData.Mode = ActivSmazkaL3;
				}
				if((DeviceData.Direction)&&(DeviceData.Speed < DeviceData.SpeedV1)&&
				(DeviceData.ActivExt == EnableSw))
				{
					DeviceData.Mode = ZapretSmazki;
				}
				if(DeviceData.Direction != 1)
				{
					DeviceData.Mode = ZapretSmazki;
				}
				if(DeviceData.ActivExt == DisableSw)
				{
					DeviceData.Mode = ZapretSmazki;
				}
				if((RxDataFromBis.T2)||(RxDataFromBis.T3))
				{
					DeviceData.Mode = ZapretSmazki;
				}
			}
		}
		else if(DeviceData.Mode == SelfTest)
		{

		}
		if(HAL_GPIO_ReadPin(DB_GPIO_Port,DB_Pin)==GPIO_PIN_SET)
		{
			RxDataFromBis.Bak = ReciveCommand;
		}
		else
			RxDataFromBis.Bak = NoCommand;
	    osDelay(200);
  }
  /* USER CODE END ControlModeDev */
}

void InclineControl(void *argument)
{
  /* USER CODE BEGIN InclineControl */
	/*-----------------------------------------*/
	/*-переделать начальный уровень в начале самотестирования?-*/

	//DownloadDataFromMem(&DeviceData);
DeviceData.CAN_ERROR = 0;
	/*-----------------------------------------*/
  /* Infinite loop */
  for(;;)
  {
		if(DeviceData.CAN_ERROR == 0)
					DeviceData.CAN_ERROR = 1;
				if(DeviceData.CAN_ERROR == 1)
				{
					osDelay(10000);
					if(DeviceData.CAN_ERROR != 0)
						DeviceData.CAN_ERROR = 2;
				}
    osDelay(100);
  }
  /* USER CODE END InclineControl */
}

void TimeControl(void *argument)
{
  /* USER CODE BEGIN TimeControl */
	/*DeviceData.TimeOfWork = 0;
	WrireToMemUint32(DeviceData.TimeOfWork,FRAM_MEM_ID_TIME);
	DeviceData.TimeMinuts = 0;
	WrireToMemUint32(DeviceData.TimeMinuts,FRAM_MEM_ID_TIME_MIN);
	*/
	DeviceData.TimeOfWork = ReadFromMemUint32(FRAM_MEM_ID_TIME);
	DeviceData.TimeMinuts = ReadFromMemUint32(FRAM_MEM_ID_TIME_MIN);
	//WrireToMemUint32(DeviceData.TimeMinuts,FRAM_MEM_ID_TIME_MIN);
  /* Infinite loop */
  for(;;)
  {
    osDelay(60000);

		DeviceData.TimeMinuts ++;
		WrireToMemUint32(DeviceData.TimeMinuts,FRAM_MEM_ID_TIME_MIN);
		if(DeviceData.TimeMinuts>=60)
		{
			DeviceData.TimeMinuts = 0x00;
			DeviceData.TimeOfWork++;
			WrireToMemUint32(DeviceData.TimeOfWork,FRAM_MEM_ID_TIME);
		}
  }
  /* USER CODE END TimeControl */
}

void HAL_TIM_PeriodElapsedCallback(TIM_HandleTypeDef *htim)
{
  if (htim->Instance == TIM1) {
    HAL_IncTick();
  }
}

void Error_Handler(void)
{
  __disable_irq();
  while (1)
  {
  }
}
